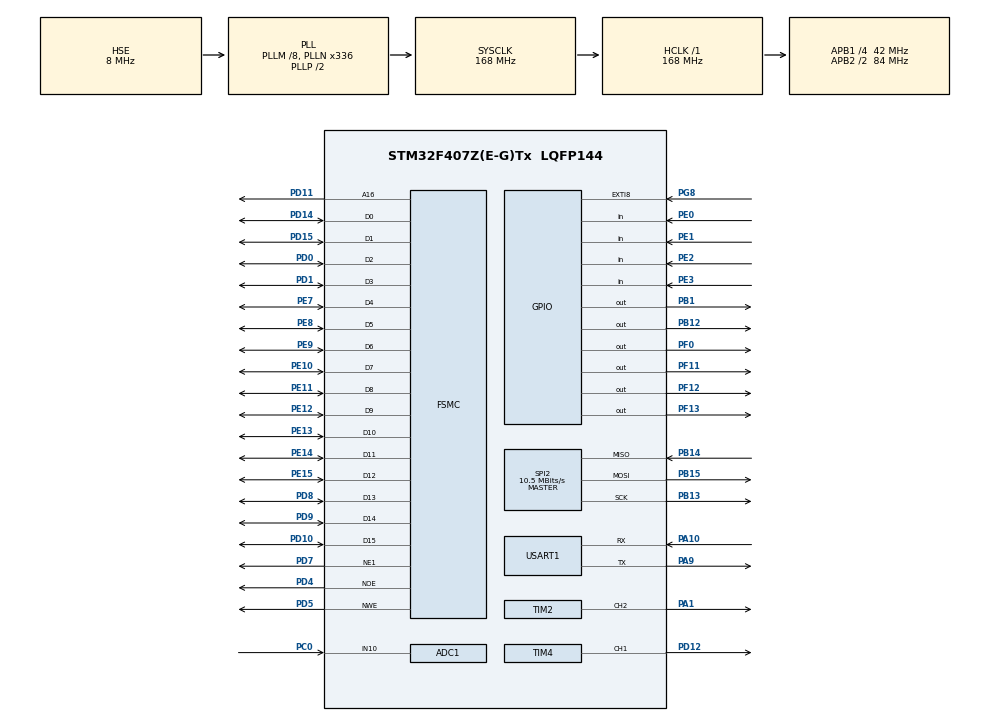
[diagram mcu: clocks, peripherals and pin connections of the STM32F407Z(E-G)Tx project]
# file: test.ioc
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ADC1.Channel-0\#ChannelRegularConversion=ADC_CHANNEL_10
ADC1.ClockPrescaler=ADC_CLOCK_SYNC_PCLK_DIV4
ADC1.ContinuousConvMode=DISABLE
ADC1.DMAContinuousRequests=ENABLE
ADC1.DataAlign=ADC_DATAALIGN_RIGHT
ADC1.DiscontinuousConvMode=DISABLE
ADC1.EOCSelection=ADC_EOC_SINGLE_CONV
ADC1.EnableAnalogWatchDog=false
ADC1.ExternalTrigConv=ADC_EXTERNALTRIGCONV_T2_CC2
ADC1.ExternalTrigConvEdge=ADC_EXTERNALTRIGCONVEDGE_RISING
ADC1.InjNumberOfConversion=0
ADC1.NbrOfConversion=1
ADC1.NbrOfConversionFlag=1
ADC1.Rank-0\#ChannelRegularConversion=1
ADC1.Resolution=ADC_RESOLUTION_12B
ADC1.SamplingTime-0\#ChannelRegularConversion=ADC_SAMPLETIME_84CYCLES
ADC1.ScanConvMode=DISABLE
ADC1.master=1
Dma.ADC1.0.Direction=DMA_PERIPH_TO_MEMORY
Dma.ADC1.0.FIFOMode=DMA_FIFOMODE_ENABLE
Dma.ADC1.0.FIFOThreshold=DMA_FIFO_THRESHOLD_FULL
Dma.ADC1.0.Instance=DMA2_Stream0
Dma.ADC1.0.MemBurst=DMA_MBURST_SINGLE
Dma.ADC1.0.MemDataAlignment=DMA_MDATAALIGN_HALFWORD
Dma.ADC1.0.MemInc=DMA_MINC_ENABLE
Dma.ADC1.0.Mode=DMA_CIRCULAR
Dma.ADC1.0.PeriphBurst=DMA_PBURST_SINGLE
Dma.ADC1.0.PeriphDataAlignment=DMA_PDATAALIGN_HALFWORD
Dma.ADC1.0.PeriphInc=DMA_PINC_DISABLE
Dma.ADC1.0.Priority=DMA_PRIORITY_LOW
Dma.Request0=ADC1
FSMC.AddressSetupTime1=2
FSMC.BusTurnAroundDuration1=0
FSMC.DataSetupTime1=1
Mcu.Family=STM32F4
Mcu.Name=STM32F407Z(E-G)Tx
Mcu.Package=LQFP144
NVIC.DMA2_Stream0_IRQn=true\:2\:0\:true\:true\:true\:5\:true\:true
NVIC.EXTI9_5_IRQn=true\:8\:0\:true\:true\:true\:4\:true\:true
NVIC.PriorityGroup=NVIC_PRIORITYGROUP_4
NVIC.TIM4_IRQn=true\:4\:0\:true\:true\:true\:6\:true\:true
NVIC.TIM5_IRQn=true\:5\:0\:true\:true\:true\:2\:true\:true
NVIC.TIM7_IRQn=true\:7\:0\:true\:true\:true\:3\:true\:true
NVIC.USART1_IRQn=true\:1\:0\:true\:true\:true\:1\:true\:true
PA1.Signal=S_TIM2_CH2
PA10.Mode=Asynchronous
PA10.Signal=USART1_RX
PA13.Mode=Serial_Wire
PA13.Signal=SYS_JTMS-SWDIO
PA14.Mode=Serial_Wire
PA14.Signal=SYS_JTCK-SWCLK
PA9.Mode=Asynchronous
PA9.Signal=USART1_TX
PB1.GPIO_Speed=GPIO_SPEED_FREQ_MEDIUM
PB1.Signal=GPIO_Output
PB12.GPIO_Speed=GPIO_SPEED_FREQ_VERY_HIGH
PB12.Signal=GPIO_Output
PB13.Mode=Full_Duplex_Master
PB13.Signal=SPI2_SCK
PB14.Mode=Full_Duplex_Master
PB14.Signal=SPI2_MISO
PB15.Mode=Full_Duplex_Master
PB15.Signal=SPI2_MOSI
PC0.Signal=ADCx_IN10
PC14-OSC32_IN.Mode=LSE-External-Oscillator
PC14-OSC32_IN.Signal=RCC_OSC32_IN
PC15-OSC32_OUT.Mode=LSE-External-Oscillator
PC15-OSC32_OUT.Signal=RCC_OSC32_OUT
PD0.Signal=FSMC_D2_DA2
PD1.Signal=FSMC_D3_DA3
PD10.Signal=FSMC_D15_DA15
PD11.Signal=FSMC_A16_CLE
PD12.Signal=S_TIM4_CH1
PD14.Signal=FSMC_D0_DA0
PD15.Signal=FSMC_D1_DA1
PD4.Signal=FSMC_NOE
PD5.Signal=FSMC_NWE
PD7.Mode=NorPsramChipSelect1_1
PD7.Signal=FSMC_NE1
PD8.Signal=FSMC_D13_DA13
PD9.Signal=FSMC_D14_DA14
PE0.GPIO_PuPd=GPIO_PULLUP
PE0.Signal=GPIO_Input
PE1.GPIO_PuPd=GPIO_PULLUP
PE1.Signal=GPIO_Input
PE10.Signal=FSMC_D7_DA7
PE11.Signal=FSMC_D8_DA8
PE12.Signal=FSMC_D9_DA9
PE13.Signal=FSMC_D10_DA10
PE14.Signal=FSMC_D11_DA11
PE15.Signal=FSMC_D12_DA12
PE2.GPIO_PuPd=GPIO_PULLUP
PE2.Signal=GPIO_Input
PE3.GPIO_PuPd=GPIO_PULLUP
PE3.Signal=GPIO_Input
PE7.Signal=FSMC_D4_DA4
PE8.Signal=FSMC_D5_DA5
PE9.Signal=FSMC_D6_DA6
PF0.GPIO_Speed=GPIO_SPEED_FREQ_VERY_HIGH
PF0.PinState=GPIO_PIN_RESET
PF0.Signal=GPIO_Output
PF11.GPIO_Speed=GPIO_SPEED_FREQ_MEDIUM
PF11.Signal=GPIO_Output
PF12.GPIO_Speed=GPIO_SPEED_FREQ_MEDIUM
PF12.Signal=GPIO_Output
PF13.GPIO_Speed=GPIO_SPEED_FREQ_MEDIUM
PF13.Signal=GPIO_Output
PG8.GPIO_ModeDefaultEXTI=GPIO_MODE_IT_RISING_FALLING
PG8.Signal=GPXTI8
PH0-OSC_IN.Mode=HSE-External-Oscillator
PH0-OSC_IN.Signal=RCC_OSC_IN
PH1-OSC_OUT.Mode=HSE-External-Oscillator
PH1-OSC_OUT.Signal=RCC_OSC_OUT
ProjectManager.HeapSize=0xC00
ProjectManager.StackSize=0x10000
ProjectManager.TargetToolchain=MDK-ARM V5
RCC.48MHZClocksFreq_Value=84000000
RCC.AHBFreq_Value=168000000
RCC.APB1CLKDivider=RCC_HCLK_DIV4
RCC.APB1Freq_Value=42000000
RCC.APB1TimFreq_Value=84000000
RCC.APB2CLKDivider=RCC_HCLK_DIV2
RCC.APB2Freq_Value=84000000
RCC.APB2TimFreq_Value=168000000
RCC.CortexFreq_Value=168000000
RCC.HCLKFreq_Value=168000000
RCC.HSE_VALUE=8000000
RCC.HSI_VALUE=16000000
RCC.PLLM=8
RCC.PLLN=336
RCC.PLLSourceVirtual=RCC_PLLSOURCE_HSE
RCC.RCC_RTC_Clock_Source=RCC_RTCCLKSOURCE_LSE
RCC.RCC_RTC_Clock_SourceVirtual=RCC_RTCCLKSOURCE_LSE
RCC.SYSCLKFreq_VALUE=168000000
RCC.SYSCLKSource=RCC_SYSCLKSOURCE_PLLCLK
RCC.VCOOutputFreq_Value=336000000
SH.ADCx_IN10.0=ADC1_IN10,IN10
SH.FSMC_A16_CLE.0=FSMC_A16,A16_1
SH.FSMC_D0_DA0.0=FSMC_D0,16b-d1
SH.FSMC_D10_DA10.0=FSMC_D10,16b-d1
SH.FSMC_D11_DA11.0=FSMC_D11,16b-d1
SH.FSMC_D12_DA12.0=FSMC_D12,16b-d1
SH.FSMC_D13_DA13.0=FSMC_D13,16b-d1
SH.FSMC_D14_DA14.0=FSMC_D14,16b-d1
SH.FSMC_D15_DA15.0=FSMC_D15,16b-d1
SH.FSMC_D1_DA1.0=FSMC_D1,16b-d1
SH.FSMC_D2_DA2.0=FSMC_D2,16b-d1
SH.FSMC_D3_DA3.0=FSMC_D3,16b-d1
SH.FSMC_D4_DA4.0=FSMC_D4,16b-d1
SH.FSMC_D5_DA5.0=FSMC_D5,16b-d1
SH.FSMC_D6_DA6.0=FSMC_D6,16b-d1
SH.FSMC_D7_DA7.0=FSMC_D7,16b-d1
SH.FSMC_D8_DA8.0=FSMC_D8,16b-d1
SH.FSMC_D9_DA9.0=FSMC_D9,16b-d1
SH.FSMC_NOE.0=FSMC_NOE,Lcd1
SH.FSMC_NWE.0=FSMC_NWE,Lcd1
SH.S_TIM2_CH2.0=TIM2_CH2,PWM Generation2 CH2
SH.S_TIM4_CH1.0=TIM4_CH1,PWM Generation1 CH1
SPI2.BaudRatePrescaler=SPI_BAUDRATEPRESCALER_4
SPI2.CLKPhase=SPI_PHASE_2EDGE
SPI2.CLKPolarity=SPI_POLARITY_HIGH
SPI2.CalculateBaudRate=10.5 MBits/s
SPI2.Direction=SPI_DIRECTION_2LINES
SPI2.Mode=SPI_MODE_MASTER
SPI2.VirtualType=VM_MASTER
TIM2.Channel-PWM\ Generation2\ CH2=TIM_CHANNEL_2
TIM2.OCFastMode_PWM-PWM\ Generation2\ CH2=TIM_OCFAST_ENABLE
TIM2.Period=1708
TIM2.Prescaler=23
TIM2.Pulse-PWM\ Generation2\ CH2=170
TIM4.Channel-PWM\ Generation1\ CH1=TIM_CHANNEL_1
TIM4.Period=999
TIM4.Prescaler=83
TIM4.Pulse-PWM\ Generation1\ CH1=100
TIM5.Period=999999
TIM5.Prescaler=83
TIM7.Period=999
TIM7.Prescaler=83
USART1.VirtualMode=VM_ASYNC
VP_TIM2_VS_ClockSourceINT.Mode=Internal
VP_TIM4_VS_ClockSourceINT.Mode=Internal
VP_TIM5_VS_ClockSourceINT.Mode=Internal
VP_TIM7_VS_ClockSourceINT.Mode=Enable_Timer
board=test

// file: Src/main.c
/**
  ******************************************************************************
  * @file           : main.c
  * @brief          : Main program body
  ******************************************************************************
  ** This notice applies to any and all portions of this file
  * that are not between comment pairs USER CODE BEGIN and
  * USER CODE END. Other portions of this file, whether
  * inserted by the user or by software development tools
  * are owned by their respective copyright owners.
  *
  * COPYRIGHT(c) 2018 STMicroelectronics
  *
  * Redistribution and use in source and binary forms, with or without modification,
  * are permitted provided that the following conditions are met:
  *   1. Redistributions of source code must retain the above copyright notice,
  *      this list of conditions and the following disclaimer.
  *   2. Redistributions in binary form must reproduce the above copyright notice,
  *      this list of conditions and the following disclaimer in the documentation
  *      and/or other materials provided with the distribution.
  *   3. Neither the name of STMicroelectronics nor the names of its contributors
  *      may be used to endorse or promote products derived from this software
  *      without specific prior written permission.
  *
  * THIS SOFTWARE IS PROVIDED BY THE COPYRIGHT HOLDERS AND CONTRIBUTORS "AS IS"
  * AND ANY EXPRESS OR IMPLIED WARRANTIES, INCLUDING, BUT NOT LIMITED TO, THE
  * IMPLIED WARRANTIES OF MERCHANTABILITY AND FITNESS FOR A PARTICULAR PURPOSE ARE
  * DISCLAIMED. IN NO EVENT SHALL THE COPYRIGHT HOLDER OR CONTRIBUTORS BE LIABLE
  * FOR ANY DIRECT, INDIRECT, INCIDENTAL, SPECIAL, EXEMPLARY, OR CONSEQUENTIAL
  * DAMAGES (INCLUDING, BUT NOT LIMITED TO, PROCUREMENT OF SUBSTITUTE GOODS OR
  * SERVICES; LOSS OF USE, DATA, OR PROFITS; OR BUSINESS INTERRUPTION) HOWEVER
  * CAUSED AND ON ANY THEORY OF LIABILITY, WHETHER IN CONTRACT, STRICT LIABILITY,
  * OR TORT (INCLUDING NEGLIGENCE OR OTHERWISE) ARISING IN ANY WAY OUT OF THE USE
  * OF THIS SOFTWARE, EVEN IF ADVISED OF THE POSSIBILITY OF SUCH DAMAGE.
  *
  ******************************************************************************
  */
#include "main.h"
#include "stm32f4xx_hal.h"
#include "adc.h"
#include "dma.h"
#include "spi.h"
#include "tim.h"
#include "usart.h"
#include "gpio.h"
#include "fsmc.h"

/* USER CODE BEGIN Includes */
#include "key.h"
#include "spin.h"
#include "led.h"
#include "common.h"
#include "exti_test.h"
#include "lcd_drive.h"
#include "gui.h"
#include "tftDisp.h"
#include "w25q64.h"
#include "touch.h"
#include "fft.h"
#include "windowsframe.h"
#include "DataOperation.h"
/* USER CODE END Includes */

/* USER CODE BEGIN PV */

// 例程：FFT
// Tim2.捕获比较通道2的上升沿 触发一路 ADC1_IN10 进行ADC转换，完成后自动通过DMA通道存在数组 ADC1_Value[]中。
//      当存满后，触发 "DMA2_Stream0_IRQHandler" 中断， 调用"ADC_DMAConvCplt",再调用"HAL_ADC_ConvCpltCallback" 进行数据处理

// 显示必须按转成 dB 单位, 主窗口显示整个频谱，子窗口显示部分详细谱线，主窗口下方的小箭头指示了子窗口频谱在主窗口中的位置
// 1、可以按键K3K4调节显示子窗口的频谱
// 2、可以用旋转编码器细调子窗口的频谱
// 3、可以点触主窗口区域来初调子窗口的频谱
// 4、可以滑动子窗口区域来  调子窗口的频谱

/* Private variables ---------------------------------------------------------*/

/* USER CODE END PV */

void SystemClock_Config(void);
static void MX_NVIC_Init(void);

/* USER CODE BEGIN PFP */
/* Private function prototypes -----------------------------------------------*/

/* USER CODE END PFP */

/* USER CODE BEGIN 0 */

// 定时器处理溢出中断，中断频率理论可以很高，但实际由于进入中断要一些时间，一般最高500KHz;
// 定时器设置时中断频率的计算方法: Fclk/(Prescaler+1)/(Period)
// Fclk:定时器所在总线频率*2;  Prescaler:预分频值;  Period:向上计数的溢出值
// TIMER4中断频率: 84M/(8399+1)/(999+1)=10Hz
// TIMER5中断频率: 84M/(83+1)/(999999+1)=1Hz
// TIMER7中断频率: 84M/(83+1)/(999+1)=1000Hz
// TIMER6中断频率: 84M/(3+1)/(4+1)=4.2MHz, 用于触发DAC1; 当DAC1定时触发时,只能用指定的TIM6来完成,TIM6可以不设为中断模式

/* USER CODE END 0 */

int main(void)
{
    /* USER CODE BEGIN 1 */
    struKeyStatus key; // 四个按键的状态变量
    struTouch ctpxy;   // 电容触摸屏的参数
    struspin spin;

    //float fft_inputbuf[FFT_LENGTH * 2]; //FFT输入数组
    //float fft_outputbuf[FFT_LENGTH];    //FFT输出数组

    uint16_t disp_x_freq_left;      // 详细的9根谱线最左边的点数
    FunctionalState disp_x_freq_en; // 显示详细频谱使能
    /* USER CODE END 1 */

    /* MCU Configuration----------------------------------------------------------*/

    /* Reset of all peripherals, Initializes the Flash interface and the Systick. */
    HAL_Init();

    /* Configure the system clock */
    SystemClock_Config();

    /* Initialize all configured peripherals */
    MX_GPIO_Init();
    MX_DMA_Init();
    MX_TIM4_Init();
    MX_USART1_UART_Init();
    MX_SPI2_Init();
    MX_TIM5_Init();
    MX_TIM7_Init();
    MX_FSMC_Init();
    MX_ADC1_Init();
    MX_TIM2_Init();

    /* Initialize interrupts */
    MX_NVIC_Init();
    /* USER CODE BEGIN 2 */
    //_TIM2_SetFreq();

    HAL_TIM_PWM_Start_IT(&htim4, TIM_CHANNEL_1); // 使能TIM4计数，PA1输出PWM信号

    HAL_TIM_Base_Start_IT(&htim7);

    W25Q64_CS_GPIO_Init();  // W25Q64.CS引脚初始化
    FT6336_I2C_GPIO_Init(); // LCD屏的触摸屏的2个引脚初始化
    LCD_Initialize();       // LCD屏的复位引脚，背光引脚 初始化

    IO_GPIO_Init();
    LED_GPIO_Init();       // 四个LED指示灯 引脚初始化 （推挽输出）
    Key_GPIO_Init();       // 四个按键      引脚初始化 （上拉输入）
    Exti_Test_GPIO_Init(); // 中断输入引脚的初始化, 及测试中端的IO引进的初始化

    Spin_GpioInit(); // 旋转编码器的IO引脚初始化
    spin.keystatus = KEY_NO_PRESSED;
    spin.rotatestatus = SPIN_NO_ROTATE;
    //////////////////////
    Init_KeyStatus(&key); // 四个按键 状态初始化为 "没有按下键"

    ProcADC_Enable = DISABLE; // 不允许ADC1_IN0变换
    // ADC TIM2的CC2匹配事件触发
    HAL_ADC_Start_DMA(&hadc1, (uint32_t *)ADC1_Value, SIZEofADC1); // 设置ADC1_IN0的DMA 数据缓存器
    HAL_TIM_PWM_Start(&htim2, TIM_CHANNEL_2);                      // 使能TIM2计数，PA1输出PWM信号

    ADCBuf_Init();
    ADCBuf_Normalize();

    t_ratio = 50;
    f_ratio = 2;

    Lcd_Clear_All(BLACK);

    Voltage_time_fig = Figure_init(Point(64, 30), Point(355, 350));
    sprintf(Voltage_time_fig.xlabel, "t/ms");
    sprintf(Voltage_time_fig.ylabel, "U/Voltage");
    sprintf(Voltage_time_fig.title, "时域");
    Figure_bound_data(&Voltage_time_fig, ADC_Voltage_buf + 10, (float)SIZEofADC1 / t_ratio);
    Figure_window_plot(&Voltage_time_fig);
    Voltage_time_fig.xrange[0] = 0;
    Voltage_time_fig.xrange[1] = (float)125 / t_ratio;
    Voltage_time_fig.xlegendnum = 9;
    Voltage_time_fig.ylegendnum = 21;

    FFT_fig = Figure_init(Point(420, 30), Point(X_MAX_PIXEL - 15, 350));
    sprintf(FFT_fig.xlabel, "f/kHz");
    sprintf(FFT_fig.ylabel, "U/Voltage");
    sprintf(FFT_fig.title, "频域");
    Figure_bound_data(&FFT_fig, fft_Result, FFT_LENGTH / f_ratio);
    Figure_window_plot(&FFT_fig);
    FFT_fig.xrange[0] = 0;
    FFT_fig.xrange[1] = (SAMPLE_FREQ / 1000) / f_ratio;
    FFT_fig.xlegendnum = 13;
    FFT_fig.ylegendnum = 21;

    StopButton = Button_init(Point(700, 400), Point(800, 450), " Pause", " Resume", WHITE_4_4, WHITE_1_4, RED_4_4);
    Button_plot(&StopButton);

    /////////////////////////
    //Init_Last_Spectrum(Last_Spectrum); // 初始化主谱线的前值
    //Inin_Win();                        // 初始化LCD显示的不变的内容
    //disp_x_freq_left = 0;              // 子窗口最左侧频率=0
    //disp_x_freq_en = ENABLE; // 开机使能显示

    /////////////////////////
    /* USER CODE END 2 */

    /* Infinite loop */
    while (1)
    {

        /* USER CODE BEGIN 3 */
        /*
        if (disp_x_freq_en == ENABLE)
        { // 用旋转编码器 或 K3 K4 或 触屏 改变 详细频谱的最左侧的频率值，向右则依次+0.5HZ
            disp_x_freq_en = DISABLE;
            DRAW_MainWin_Arrow_Freq(disp_x_freq_left);                 // 画出主谱线下方的小箭头，指向子窗口详细谱线在主谱线中开始的位置
            Write_SubWin_Left_Center_Freq(disp_x_freq_left);           // 在子窗口在详细谱线图中标出第一根和中间和最后1根谱线的频率值
            Draw_SubWin_FFT_Spectrum(disp_x_freq_left, fft_outputbuf); // 在子窗口画出详细谱线图
        }
        */
        // 触摸屏的处理
        if (ReadTouch_Enable == ENABLE) // 每10mS允许读取按键和触摸屏, 并且处理
        {
            ReadTouch_Enable = DISABLE;
            ReadCTP(&ctpxy); // 读取触摸屏的触摸坐标及状态
            if (ctpxy.ctpmainstatus == JUST_TOUCH)
            {
                if (Button_Checkpos(&StopButton, ctpxy.ctpxy.ctp_x, ctpxy.ctpxy.ctp_y) == TRUE)
                {
                    StopButton.ButtonDOWN = !StopButton.ButtonDOWN;
                    Button_plot(&StopButton);
                }
            }
            if (ctpxy.ctpmainstatus == TOUCHED)
            {
                if (Figure_Checkpos(&Voltage_time_fig, ctpxy.ctpxy.ctp_x, ctpxy.ctpxy.ctp_y) == TRUE && StopButton.ButtonDOWN == TRUE)
                {
                    if (ctpxy.xmove == LEFT_MOVING)
                    {
                        t_ratio -= 2;
                        t_ratio = t_ratio < 2 ? 2 : t_ratio;
                        Voltage_time_fig.datalen = SIZEofADC1 / t_ratio;
                        Voltage_time_fig.xrange[1] = 125 / t_ratio;
                        Figure_line_plot(&Voltage_time_fig, 1.8, GREEN_4_4);
                    }
                    if (ctpxy.xmove == RIGHT_MOVING)
                    {
                        t_ratio += 2;
                        t_ratio = t_ratio > 100 ? 100 : t_ratio;
                        Voltage_time_fig.datalen = SIZEofADC1 / t_ratio;
                        Voltage_time_fig.xrange[1] = 125 / t_ratio;
                        Figure_line_plot(&Voltage_time_fig, 1.8, GREEN_4_4);
                    }
                }
                if (Figure_Checkpos(&FFT_fig, ctpxy.ctpxy.ctp_x, ctpxy.ctpxy.ctp_y) == TRUE && StopButton.ButtonDOWN == TRUE)
                {
                    if (ctpxy.xmove == LEFT_MOVING)
                    {
                        f_ratio -= 0.4;
                        //f_ratio += ctpxy.xmove / 100;
                        f_ratio = f_ratio < 2 ? 2 : f_ratio;
                        FFT_fig.datalen = FFT_LENGTH / f_ratio;
                        FFT_fig.xrange[1] = SAMPLE_FREQ / 1000.0 / f_ratio;
                        Figure_line_plot(&FFT_fig, 1, PINGKISH_4_4);
                    }
                    if (ctpxy.xmove == RIGHT_MOVING)
                    {
                        f_ratio += 0.4;
                        f_ratio = f_ratio > 30 ? 30 : f_ratio;
                        FFT_fig.datalen = FFT_LENGTH / f_ratio;
                        FFT_fig.xrange[1] = SAMPLE_FREQ / 1000.0 / f_ratio;
                        Figure_line_plot(&FFT_fig, 1, PINGKISH_4_4);
                    }
                }
            }
            //Proc_Touch_inMainWin(ctpxy, &disp_x_freq_left, &disp_x_freq_en); // 根据主窗口的触摸情况，改变在子窗口详细谱线图中第一根谱线的频率值，细调
            //Proc_Touch_inSubWin(ctpxy, &disp_x_freq_left, &disp_x_freq_en);  // 根据子窗口的触摸情况，改变在子窗口详细谱线图中第一根谱线的频率值，细调
        }
        // 按键和旋转编码器的处理
        if (ReadKey_Enable == ENABLE)
        {
            ReadKey_Enable = DISABLE;
            ////////////////////////

            Read_KeyStatus(&key); // 读取四个按键的状态，包含了去抖动
            Key_Process(key, &disp_x_freq_left, &disp_x_freq_en); // 根据K3 K4按键的状态，改变在详细谱线图中第一根谱线的频率值，粗调
            ////////////////////////
            /*
            Read_Spin(&spin);                                    // 读取旋转编码器的值
            Proc_Spin(spin, &disp_x_freq_left, &disp_x_freq_en); // 根据转动情况，改变在详细谱线图中第一根谱线的频率值，细调
            */
        }

        // 完成一次采样周期后，数据的处理
        if (ProcADC_Enable == ENABLE) // 完成一组ADC转换后，该标志位 被使能
        {
            //TIM2->DIER &= 0;
            //TIM2->CR1 &= ~(1);
            HAL_TIM_Base_Stop_IT(&htim2);
            HAL_TIM_PWM_Stop(&htim2, TIM_CHANNEL_2);
            HAL_TIM_Base_Stop(&htim2);
            //LED1_TOGGLE();
            Figure_line_plot(&Voltage_time_fig, 1.8, GREEN_4_4);
            ADC2FFTbuffer();
            FFT_Cal();
            Figure_line_plot(&FFT_fig, 1, PINGKISH_4_4);

            //            Generate_Wave_Pulse(fft_inputbuf, FFT_LENGTH, SAMPLE_FREQ); // 制造一个脉冲波，频率/占空比/幅度 可调
            /*
            //Generate_Wave_Sin(fft_inputbuf, FFT_LENGTH, SAMPLE_FREQ);   // 制造多个理想正弦波，频率/幅度 可调
            Write_ADCBuf_toFFTbuf(ADC1_Value, fft_inputbuf, SIZEofADC1); // 将ADC的值写入FFT输入数组，并初始化入FFT输入数组
            Windows_Input_Param(fft_inputbuf, FFT_LENGTH);               // 对原始信号加窗，改善频谱
            Calculate_FFT(fft_inputbuf, fft_outputbuf, FFT_LENGTH);      // 计算FFT值
            // 以下为显示主谱线和详细谱线
            //Draw_xdB_Line();                                           // 显示横向  dB定标线
            //Draw_MainWin_Spectrum_Flag_Line();                         // 主窗口显示纵向频率定标线
            //Draw_MainWin_Spectrum(fft_outputbuf, FFT_LENGTH);          // 主窗口显示总体主频谱
            //Draw_SubWin_FFT_Spectrum(disp_x_freq_left, fft_outputbuf); // 在子窗口左侧频率向右显示9根详细谱线 ，0.5HZ间隔
            */
            //HAL_TIM_Base_Start_IT(&htim2);
            //HAL_TIM_PWM_Start(&htim2, TIM_CHANNEL_2);
            ProcADC_Enable = DISABLE;
        }
    }
    /* USER CODE END 3 */
}

void SystemClock_Config(void)
{

    RCC_OscInitTypeDef RCC_OscInitStruct;
    RCC_ClkInitTypeDef RCC_ClkInitStruct;

    /**Configure the main internal regulator output voltage
    */
    __HAL_RCC_PWR_CLK_ENABLE();

    __HAL_PWR_VOLTAGESCALING_CONFIG(PWR_REGULATOR_VOLTAGE_SCALE1);

    /**Initializes the CPU, AHB and APB busses clocks
    */
    RCC_OscInitStruct.OscillatorType = RCC_OSCILLATORTYPE_HSE;
    RCC_OscInitStruct.HSEState = RCC_HSE_ON;
    RCC_OscInitStruct.PLL.PLLState = RCC_PLL_ON;
    RCC_OscInitStruct.PLL.PLLSource = RCC_PLLSOURCE_HSE;
    RCC_OscInitStruct.PLL.PLLM = 8;
    RCC_OscInitStruct.PLL.PLLN = 336;
    RCC_OscInitStruct.PLL.PLLP = RCC_PLLP_DIV2;
    RCC_OscInitStruct.PLL.PLLQ = 4;
    if (HAL_RCC_OscConfig(&RCC_OscInitStruct) != HAL_OK)
    {
        _Error_Handler(__FILE__, __LINE__);
    }

    /**Initializes the CPU, AHB and APB busses clocks
    */
    RCC_ClkInitStruct.ClockType = RCC_CLOCKTYPE_HCLK | RCC_CLOCKTYPE_SYSCLK | RCC_CLOCKTYPE_PCLK1 | RCC_CLOCKTYPE_PCLK2;
    RCC_ClkInitStruct.SYSCLKSource = RCC_SYSCLKSOURCE_PLLCLK;
    RCC_ClkInitStruct.AHBCLKDivider = RCC_SYSCLK_DIV1;
    RCC_ClkInitStruct.APB1CLKDivider = RCC_HCLK_DIV4;
    RCC_ClkInitStruct.APB2CLKDivider = RCC_HCLK_DIV2;

    if (HAL_RCC_ClockConfig(&RCC_ClkInitStruct, FLASH_LATENCY_5) != HAL_OK)
    {
        _Error_Handler(__FILE__, __LINE__);
    }

    /**Configure the Systick interrupt time
    */
    HAL_SYSTICK_Config(HAL_RCC_GetHCLKFreq() / 1000);

    /**Configure the Systick
    */
    HAL_SYSTICK_CLKSourceConfig(SYSTICK_CLKSOURCE_HCLK);

    /* SysTick_IRQn interrupt configuration */
    HAL_NVIC_SetPriority(SysTick_IRQn, 0, 0);
}

/**
  * @brief NVIC Configuration.
  * @retval None
  */
static void MX_NVIC_Init(void)
{
    /* USART1_IRQn interrupt configuration */
    HAL_NVIC_SetPriority(USART1_IRQn, 1, 0);
    HAL_NVIC_EnableIRQ(USART1_IRQn);
    /* TIM5_IRQn interrupt configuration */
    HAL_NVIC_SetPriority(TIM5_IRQn, 5, 0);
    HAL_NVIC_EnableIRQ(TIM5_IRQn);
    /* TIM7_IRQn interrupt configuration */
    HAL_NVIC_SetPriority(TIM7_IRQn, 7, 0);
    HAL_NVIC_EnableIRQ(TIM7_IRQn);
    /* EXTI9_5_IRQn interrupt configuration */
    HAL_NVIC_SetPriority(EXTI9_5_IRQn, 8, 0);
    HAL_NVIC_EnableIRQ(EXTI9_5_IRQn);
    /* DMA2_Stream0_IRQn interrupt configuration */
    HAL_NVIC_SetPriority(DMA2_Stream0_IRQn, 2, 0);
    HAL_NVIC_EnableIRQ(DMA2_Stream0_IRQn);
    /* TIM4_IRQn interrupt configuration */
    HAL_NVIC_SetPriority(TIM4_IRQn, 4, 0);
    HAL_NVIC_EnableIRQ(TIM4_IRQn);
}

void _Error_Handler(char *file, int line)
{
    while (1)
    {
    }
}

/************************ (C) COPYRIGHT STMicroelectronics *****END OF FILE****/
